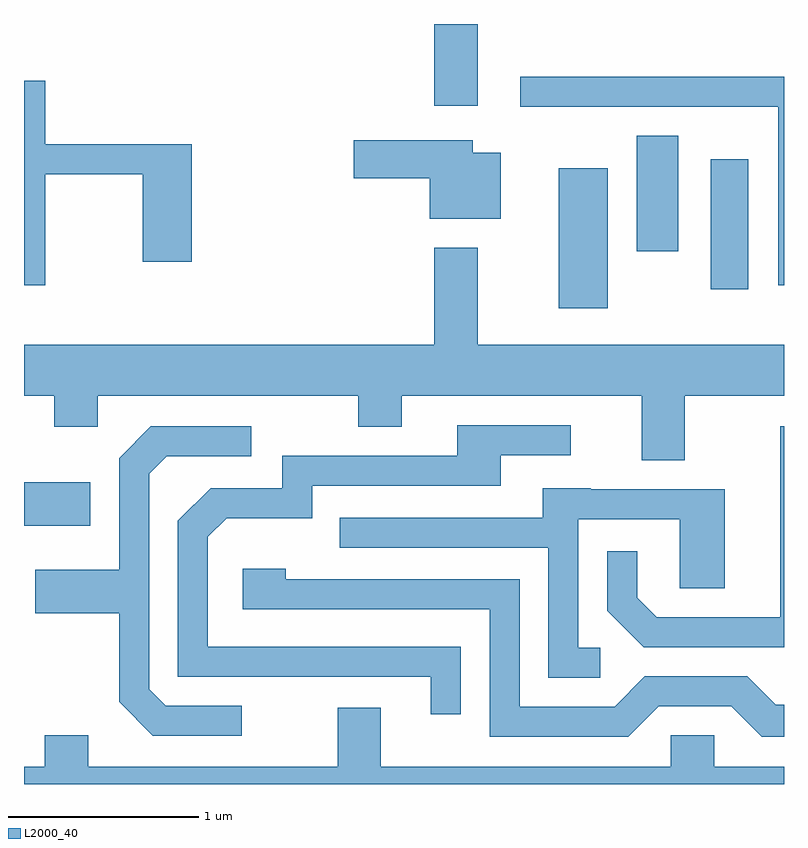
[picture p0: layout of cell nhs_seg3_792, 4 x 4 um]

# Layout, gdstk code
import gdstk
lib = gdstk.Library(unit=1e-6, precision=1e-09)
def R(c, l, rs):  # rectangles x0, y0, x1, y1
    for r in rs: c.add(gdstk.rectangle(r[:2], r[2:], *l))
def P(c, l, *ps):  # polygons
    for p in ps: c.add(gdstk.Polygon(p, *l))
L2000_40 = (2000, 40)

nhs_seg3_792 = lib.new_cell('nhs_seg3_792')
R(nhs_seg3_792, L2000_40, [(207.611,1205.251,207.959,1205.479), (210.426,1206.396,210.684,1207.134), (211.226,1206.496,211.424,1207.179), (210.836,1206.696,211.054,1207.304), (209.771,1207.461,209.999,1207.892)])
P(nhs_seg3_792, L2000_40, [(211.611,1207.614),(210.223,1207.614),(210.223,1207.456),(211.581,1207.456),(211.581,1206.518),(211.611,1206.518)],
  [(207.724,1207.101),(208.236,1207.101),(208.236,1206.641),(208.494,1206.641),(208.494,1207.259),(207.724,1207.259),(207.724,1207.594),(207.611,1207.594),(207.611,1206.516),(207.724,1206.516)],
  [(210.119,1207.214),(209.974,1207.214),(209.974,1207.279),(209.346,1207.279),(209.346,1207.081),(209.746,1207.081),(209.746,1206.866),(210.119,1206.866)],
  [(211.089,1205.936),(211.611,1205.936),(211.611,1206.204),(209.999,1206.204),(209.999,1206.714),(209.771,1206.714),(209.771,1206.204),(207.611,1206.204),(207.611,1205.936),(207.771,1205.936),(207.771,1205.771),(207.999,1205.771),(207.999,1205.936),(209.371,1205.936),(209.371,1205.771),(209.599,1205.771),(209.599,1205.936),(210.861,1205.936),(210.861,1205.596),(211.089,1205.596)],
  [(209.909,1204.614),(208.579,1204.614),(208.579,1205.194),(208.677,1205.291),(209.129,1205.291),(209.129,1205.461),(210.119,1205.461),(210.119,1205.621),(210.488,1205.621),(210.488,1205.779),(209.891,1205.779),(209.891,1205.619),(208.971,1205.619),(208.971,1205.449),(208.594,1205.449),(208.421,1205.277),(208.421,1204.456),(209.751,1204.456),(209.751,1204.258),(209.909,1204.258)],
  [(208.758,1204.304),(208.357,1204.304),(208.269,1204.392),(208.269,1205.524),(208.362,1205.616),(208.808,1205.616),(208.808,1205.774),(208.279,1205.774),(208.111,1205.607),(208.111,1205.019),(207.671,1205.019),(207.671,1204.791),(208.111,1204.791),(208.111,1204.324),(208.289,1204.146),(208.758,1204.146)],
  [(211.611,1205.774),(211.591,1205.774),(211.591,1204.769),(210.942,1204.769),(210.839,1204.872),(210.839,1205.118),(210.681,1205.118),(210.681,1204.804),(210.874,1204.611),(211.611,1204.611)],
  [(210.643,1204.609),(210.529,1204.609),(210.529,1205.286),(211.061,1205.286),(211.061,1204.921),(211.299,1204.921),(211.299,1205.444),(210.595,1205.444),(210.595,1205.449),(210.341,1205.449),(210.341,1205.294),(209.273,1205.294),(209.273,1205.136),(210.371,1205.136),(210.371,1204.451),(210.643,1204.451)],
  [(210.952,1204.301),(211.334,1204.301),(211.494,1204.141),(211.611,1204.141),(211.611,1204.309),(211.567,1204.309),(211.417,1204.459),(210.879,1204.459),(210.719,1204.299),(210.219,1204.299),(210.219,1204.969),(208.989,1204.969),(208.989,1205.024),(208.761,1205.024),(208.761,1204.811),(210.061,1204.811),(210.061,1204.141),(210.792,1204.141)],
  [(211.611,1203.984),(211.244,1203.984),(211.244,1204.149),(211.016,1204.149),(211.016,1203.984),(209.489,1203.984),(209.489,1204.294),(209.261,1204.294),(209.261,1203.984),(207.949,1203.984),(207.949,1204.149),(207.721,1204.149),(207.721,1203.984),(207.611,1203.984),(207.611,1203.892),(211.611,1203.892)])

lib.write_gds('nhs_seg3_792.gds')
